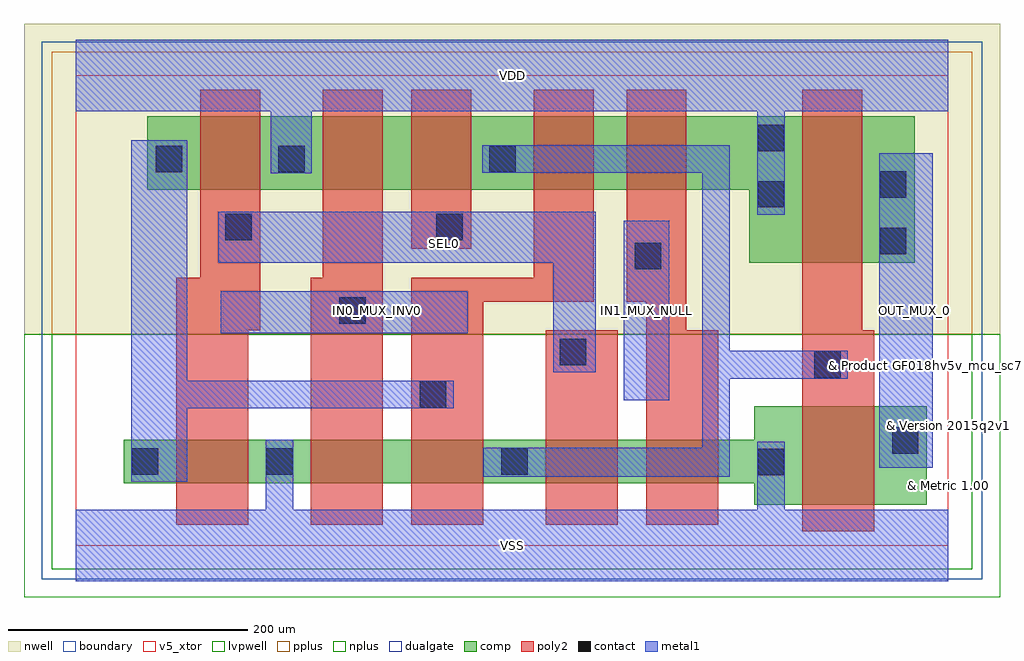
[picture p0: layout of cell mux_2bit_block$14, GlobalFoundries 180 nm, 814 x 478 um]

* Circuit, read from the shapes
.subckt mux_2bit_block$14 IN0_MUX_INV0 IN1_MUX_NULL OUT_MUX_0 SEL0 VDD VSS
XM1 VSS SEL0 n1 VSUBS nfet_05v0 w=36u l=60u
XM2 n2 IN0_MUX_INV0 VSS VSUBS nfet_05v0 w=36u l=60u
XM3 n3 n1 n2 VSUBS nfet_05v0 w=36u l=60u
XM4 n4 SEL0 n3 VSUBS nfet_05v0 w=36u l=60u
XM5 VSS IN1_MUX_NULL n4 VSUBS nfet_05v0 w=36u l=60u
XM6 OUT_MUX_0 n3 VSS VSUBS nfet_05v0 w=82u l=60u
XM7 VDD SEL0 n1 n5 pfet_05v0 w=61.5u l=50u
XM8 n6 IN0_MUX_INV0 VDD n5 pfet_05v0 w=61.5u l=50u
XM9 n3 SEL0 n6 n5 pfet_05v0 w=61.5u l=50u
XM10 n7 n1 n3 n5 pfet_05v0 w=61.5u l=50u
XM11 VDD IN1_MUX_NULL n7 n5 pfet_05v0 w=61.5u l=50u
XM12 OUT_MUX_0 n3 VDD n5 pfet_05v0 w=122u l=50u
.ends

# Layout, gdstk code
import gdstk
lib = gdstk.Library(unit=1e-6, precision=1e-07)
def R(c, l, rs):  # rectangles x0, y0, x1, y1
    for r in rs: c.add(gdstk.rectangle(r[:2], r[2:], *l))
def P(c, l, *ps):  # polygons
    for p in ps: c.add(gdstk.Polygon(p, *l))
boundary = (0, 0)
nwell = (21, 0)
comp = (22, 0)
poly2 = (30, 0)
pplus = (31, 0)
nplus = (32, 0)
contact = (33, 0)
metal1 = (34, 0)
dualgate = (55, 0)
v5_xtor = (112, 1)
lvpwell = (204, 0)

mux_2bit_block_14 = lib.new_cell('mux_2bit_block$14')
R(mux_2bit_block_14, boundary, [(0,0,728,392)])
R(mux_2bit_block_14, nwell, [(-43,176,771,435)])
P(mux_2bit_block_14, comp, [(562,236),(562,296.5),(60,296.5),(60,358),(700,358),(700,236)],
  [(566,34),(566,52),(40,52),(40,88),(566,88),(566,116),(710,116),(710,34)])
R(mux_2bit_block_14, poly2, [(392,17.5,452,179.5), (280,247.5,330,380)])
P(mux_2bit_block_14, poly2, [(606,12),(606,380),(656,380),(656,179.5),(666,179.5),(666,12)],
  [(476,17.5),(476,203.5),(459.5,203.5),(459.5,380),(509.5,380),(509.5,179.5),(536,179.5),(536,17.5)],
  [(280,17.5),(280,223.5),(382,223.5),(382,380),(432,380),(432,203.5),(340,203.5),(340,17.5)],
  [(196,17.5),(196,223.5),(206,223.5),(206,380),(256,380),(256,17.5)],
  [(84,17.5),(84,223.5),(104,223.5),(104,380),(154,380),(154,179.5),(144,179.5),(144,17.5)])
R(mux_2bit_block_14, pplus, [(-20,176,748,412)])
R(mux_2bit_block_14, nplus, [(-20,-20,748,176)])
R(mux_2bit_block_14, contact, [(569,58.5,591,80.5), (47,59,69,81), (159,59,181,81), (355,59,377,81), (681,76.5,703,98.5), (287,115,309,137), (616,140,638,162), (404,150.5,426,172.5), (220,185,242,207), (466.5,230.5,488.5,252.5), (671,243,693,265), (125,254.5,147,276.5), (301,254.5,323,276.5), (569,282,591,304), (671,290,693,312), (67,311.5,89,333.5), (169,311.5,191,333.5), (345,311.5,367,333.5), (569,329,591,351)])
R(mux_2bit_block_14, metal1, [(670.5,65,715,327), (457,121,495,271), (121,177,327,212)])
P(mux_2bit_block_14, metal1, [(340,57.5),(340,81.5),(522.5,81.5),(522.5,311),(339,311),(339,334),(545.5,334),(545.5,162.5),(644,162.5),(644,139),(545.5,139),(545.5,57.5)],
  [(398.5,144.5),(398.5,236),(119,236),(119,278.5),(434,278.5),(434,144.5)],
  [(46.5,53),(46.5,338),(93,338),(93,137.5),(315.5,137.5),(315.5,114.5),(93,114.5),(93,53)],
  [(0,-30),(0,30),(158.5,30),(158.5,88),(181.5,88),(181.5,30),(568.5,30),(568.5,86.5),(591.5,86.5),(591.5,30),(728,30),(728,-30)],
  [(568.5,276),(568.5,362),(197,362),(197,310.5),(163,310.5),(163,362),(0,362),(0,422),(728,422),(728,362),(591.5,362),(591.5,276)])
R(mux_2bit_block_14, dualgate, [(-28,-28,756,420)])
R(mux_2bit_block_14, v5_xtor, [(0,0,728,392)])
R(mux_2bit_block_14, lvpwell, [(-43,-43,771,176)])
mux_2bit_block_14.add(gdstk.Label('IN0_MUX_INV0', (252,196), layer=34, texttype=10))
mux_2bit_block_14.add(gdstk.Label('IN1_MUX_NULL', (476,196), layer=34, texttype=10))
mux_2bit_block_14.add(gdstk.Label('SEL0', (308,252), layer=34, texttype=10))
mux_2bit_block_14.add(gdstk.Label('VDD', (364,392), layer=34, texttype=10))
mux_2bit_block_14.add(gdstk.Label('VSS', (364,0), layer=34, texttype=10))
mux_2bit_block_14.add(gdstk.Label('OUT_MUX_0', (700,196), layer=34, texttype=10))
mux_2bit_block_14.add(gdstk.Label('& Vendor GLOBALFOUNDRIES', (728,200), layer=63, texttype=63))
mux_2bit_block_14.add(gdstk.Label('& Product GF018hv5v_mcu_sc7', (728,150), layer=63, texttype=63))
mux_2bit_block_14.add(gdstk.Label('& Version 2015q2v1', (728,100), layer=63, texttype=63))
mux_2bit_block_14.add(gdstk.Label('& Metric 1.00', (728,50), layer=63, texttype=63))

lib.write_gds('mux_2bit_block_14.gds')
